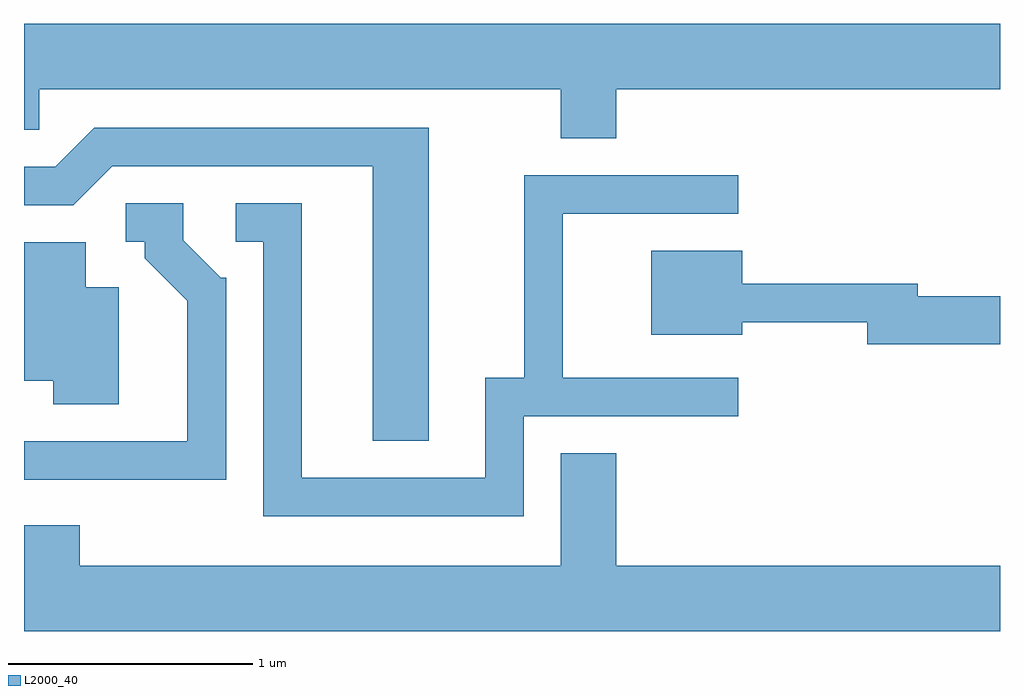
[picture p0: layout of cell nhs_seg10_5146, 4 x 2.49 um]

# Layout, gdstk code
import gdstk
lib = gdstk.Library(unit=1e-6, precision=1e-09)
def P(c, l, *ps):  # polygons
    for p in ps: c.add(gdstk.Polygon(p, *l))
L2000_40 = (2000, 40)

nhs_seg10_5146 = lib.new_cell('nhs_seg10_5146')
P(nhs_seg10_5146, L2000_40, [(340.039,2085.056),(341.611,2085.056),(341.611,2085.324),(337.611,2085.324),(337.611,2084.891),(337.674,2084.891),(337.674,2085.056),(339.811,2085.056),(339.811,2084.856),(340.039,2084.856)],
  [(339.269,2084.899),(337.899,2084.899),(337.739,2084.739),(337.611,2084.739),(337.611,2084.581),(337.812,2084.581),(337.972,2084.741),(339.041,2084.741),(339.041,2083.616),(339.269,2083.616)],
  [(339.659,2083.716),(340.538,2083.716),(340.538,2083.874),(339.819,2083.874),(339.819,2084.546),(340.538,2084.546),(340.538,2084.704),(339.661,2084.704),(339.661,2083.874),(339.501,2083.874),(339.501,2083.464),(338.749,2083.464),(338.749,2084.589),(338.478,2084.589),(338.478,2084.431),(338.591,2084.431),(338.591,2083.306),(339.659,2083.306)],
  [(338.439,2084.284),(338.417,2084.284),(338.264,2084.437),(338.264,2084.589),(338.028,2084.589),(338.028,2084.431),(338.106,2084.431),(338.106,2084.364),(338.281,2084.189),(338.281,2083.614),(337.611,2083.614),(337.611,2083.456),(338.439,2083.456)],
  [(337.999,2084.244),(337.864,2084.244),(337.864,2084.429),(337.611,2084.429),(337.611,2083.861),(337.731,2083.861),(337.731,2083.766),(337.999,2083.766)],
  [(341.611,2084.209),(341.274,2084.209),(341.274,2084.259),(340.554,2084.259),(340.554,2084.394),(340.181,2084.394),(340.181,2084.051),(340.554,2084.051),(340.554,2084.101),(341.066,2084.101),(341.066,2084.011),(341.611,2084.011)],
  [(341.611,2083.104),(340.039,2083.104),(340.039,2083.564),(339.811,2083.564),(339.811,2083.104),(337.839,2083.104),(337.839,2083.269),(337.611,2083.269),(337.611,2082.836),(341.611,2082.836)])

lib.write_gds('nhs_seg10_5146.gds')
